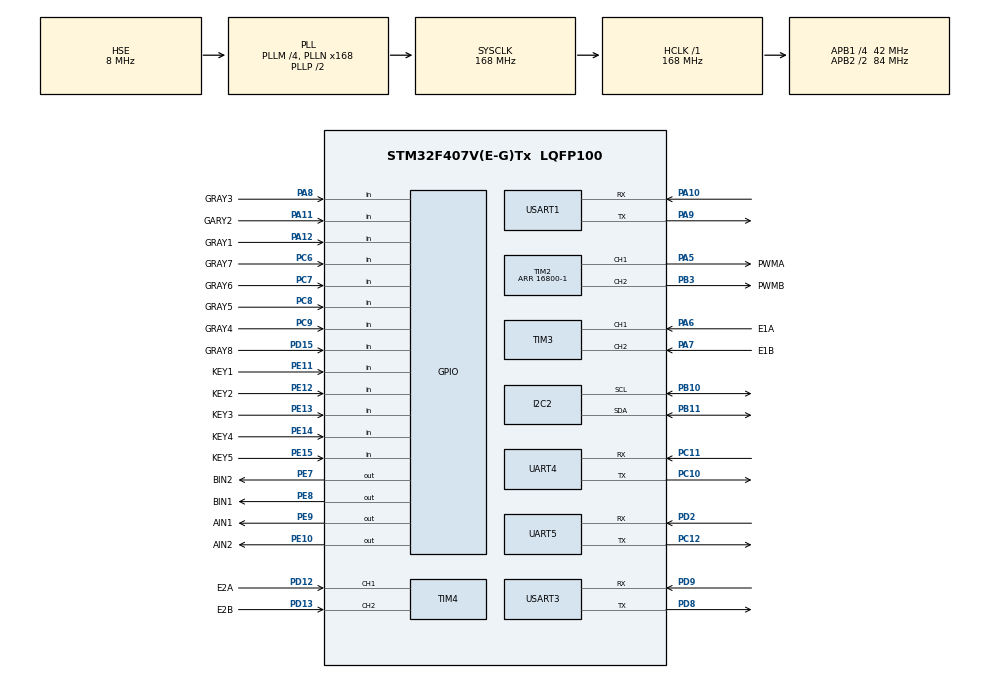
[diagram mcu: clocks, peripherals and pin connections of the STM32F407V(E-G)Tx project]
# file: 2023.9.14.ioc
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Dma.Request0=USART1_RX
Dma.Request1=USART1_TX
Dma.Request2=USART3_RX
Dma.Request3=USART3_TX
Dma.Request4=UART4_RX
Dma.Request5=UART4_TX
Dma.Request6=UART5_RX
Dma.Request7=UART5_TX
Dma.UART4_RX.4.Direction=DMA_PERIPH_TO_MEMORY
Dma.UART4_RX.4.FIFOMode=DMA_FIFOMODE_DISABLE
Dma.UART4_RX.4.Instance=DMA1_Stream2
Dma.UART4_RX.4.MemDataAlignment=DMA_MDATAALIGN_BYTE
Dma.UART4_RX.4.MemInc=DMA_MINC_ENABLE
Dma.UART4_RX.4.Mode=DMA_NORMAL
Dma.UART4_RX.4.PeriphDataAlignment=DMA_PDATAALIGN_BYTE
Dma.UART4_RX.4.PeriphInc=DMA_PINC_DISABLE
Dma.UART4_RX.4.Priority=DMA_PRIORITY_LOW
Dma.UART4_TX.5.Direction=DMA_MEMORY_TO_PERIPH
Dma.UART4_TX.5.FIFOMode=DMA_FIFOMODE_DISABLE
Dma.UART4_TX.5.Instance=DMA1_Stream4
Dma.UART4_TX.5.MemDataAlignment=DMA_MDATAALIGN_BYTE
Dma.UART4_TX.5.MemInc=DMA_MINC_ENABLE
Dma.UART4_TX.5.Mode=DMA_NORMAL
Dma.UART4_TX.5.PeriphDataAlignment=DMA_PDATAALIGN_BYTE
Dma.UART4_TX.5.PeriphInc=DMA_PINC_DISABLE
Dma.UART4_TX.5.Priority=DMA_PRIORITY_LOW
Dma.UART5_RX.6.Direction=DMA_PERIPH_TO_MEMORY
Dma.UART5_RX.6.FIFOMode=DMA_FIFOMODE_DISABLE
Dma.UART5_RX.6.Instance=DMA1_Stream0
Dma.UART5_RX.6.MemDataAlignment=DMA_MDATAALIGN_BYTE
Dma.UART5_RX.6.MemInc=DMA_MINC_ENABLE
Dma.UART5_RX.6.Mode=DMA_NORMAL
Dma.UART5_RX.6.PeriphDataAlignment=DMA_PDATAALIGN_BYTE
Dma.UART5_RX.6.PeriphInc=DMA_PINC_DISABLE
Dma.UART5_RX.6.Priority=DMA_PRIORITY_LOW
Dma.UART5_TX.7.Direction=DMA_MEMORY_TO_PERIPH
Dma.UART5_TX.7.FIFOMode=DMA_FIFOMODE_DISABLE
Dma.UART5_TX.7.Instance=DMA1_Stream7
Dma.UART5_TX.7.MemDataAlignment=DMA_MDATAALIGN_BYTE
Dma.UART5_TX.7.MemInc=DMA_MINC_ENABLE
Dma.UART5_TX.7.Mode=DMA_NORMAL
Dma.UART5_TX.7.PeriphDataAlignment=DMA_PDATAALIGN_BYTE
Dma.UART5_TX.7.PeriphInc=DMA_PINC_DISABLE
Dma.UART5_TX.7.Priority=DMA_PRIORITY_LOW
Dma.USART1_RX.0.Direction=DMA_PERIPH_TO_MEMORY
Dma.USART1_RX.0.FIFOMode=DMA_FIFOMODE_DISABLE
Dma.USART1_RX.0.Instance=DMA2_Stream2
Dma.USART1_RX.0.MemDataAlignment=DMA_MDATAALIGN_BYTE
Dma.USART1_RX.0.MemInc=DMA_MINC_ENABLE
Dma.USART1_RX.0.Mode=DMA_NORMAL
Dma.USART1_RX.0.PeriphDataAlignment=DMA_PDATAALIGN_BYTE
Dma.USART1_RX.0.PeriphInc=DMA_PINC_DISABLE
Dma.USART1_RX.0.Priority=DMA_PRIORITY_LOW
Dma.USART1_TX.1.Direction=DMA_MEMORY_TO_PERIPH
Dma.USART1_TX.1.FIFOMode=DMA_FIFOMODE_DISABLE
Dma.USART1_TX.1.Instance=DMA2_Stream7
Dma.USART1_TX.1.MemDataAlignment=DMA_MDATAALIGN_BYTE
Dma.USART1_TX.1.MemInc=DMA_MINC_ENABLE
Dma.USART1_TX.1.Mode=DMA_NORMAL
Dma.USART1_TX.1.PeriphDataAlignment=DMA_PDATAALIGN_BYTE
Dma.USART1_TX.1.PeriphInc=DMA_PINC_DISABLE
Dma.USART1_TX.1.Priority=DMA_PRIORITY_LOW
Dma.USART3_RX.2.Direction=DMA_PERIPH_TO_MEMORY
Dma.USART3_RX.2.FIFOMode=DMA_FIFOMODE_DISABLE
Dma.USART3_RX.2.Instance=DMA1_Stream1
Dma.USART3_RX.2.MemDataAlignment=DMA_MDATAALIGN_BYTE
Dma.USART3_RX.2.MemInc=DMA_MINC_ENABLE
Dma.USART3_RX.2.Mode=DMA_NORMAL
Dma.USART3_RX.2.PeriphDataAlignment=DMA_PDATAALIGN_BYTE
Dma.USART3_RX.2.PeriphInc=DMA_PINC_DISABLE
Dma.USART3_RX.2.Priority=DMA_PRIORITY_LOW
Dma.USART3_TX.3.Direction=DMA_MEMORY_TO_PERIPH
Dma.USART3_TX.3.FIFOMode=DMA_FIFOMODE_DISABLE
Dma.USART3_TX.3.Instance=DMA1_Stream3
Dma.USART3_TX.3.MemDataAlignment=DMA_MDATAALIGN_BYTE
Dma.USART3_TX.3.MemInc=DMA_MINC_ENABLE
Dma.USART3_TX.3.Mode=DMA_NORMAL
Dma.USART3_TX.3.PeriphDataAlignment=DMA_PDATAALIGN_BYTE
Dma.USART3_TX.3.PeriphInc=DMA_PINC_DISABLE
Dma.USART3_TX.3.Priority=DMA_PRIORITY_LOW
Mcu.Family=STM32F4
Mcu.Name=STM32F407V(E-G)Tx
Mcu.Package=LQFP100
NVIC.DMA1_Stream0_IRQn=true\:0\:0\:false\:false\:true\:false\:true\:true
NVIC.DMA1_Stream1_IRQn=true\:0\:0\:false\:false\:true\:false\:true\:true
NVIC.DMA1_Stream2_IRQn=true\:0\:0\:false\:false\:true\:false\:true\:true
NVIC.DMA1_Stream3_IRQn=true\:0\:0\:false\:false\:true\:false\:true\:true
NVIC.DMA1_Stream4_IRQn=true\:0\:0\:false\:false\:true\:false\:true\:true
NVIC.DMA1_Stream7_IRQn=true\:0\:0\:false\:false\:true\:false\:true\:true
NVIC.DMA2_Stream2_IRQn=true\:0\:0\:false\:false\:true\:false\:true\:true
NVIC.DMA2_Stream7_IRQn=true\:0\:0\:false\:false\:true\:false\:true\:true
NVIC.PriorityGroup=NVIC_PRIORITYGROUP_4
NVIC.TIM6_DAC_IRQn=true\:0\:0\:false\:false\:true\:true\:true\:true
NVIC.UART4_IRQn=true\:0\:0\:false\:false\:true\:true\:true\:true
NVIC.UART5_IRQn=true\:0\:0\:false\:false\:true\:true\:true\:true
NVIC.USART1_IRQn=true\:0\:0\:false\:false\:true\:true\:true\:true
NVIC.USART3_IRQn=true\:0\:0\:false\:false\:true\:true\:true\:true
PA10.Mode=Asynchronous
PA10.Signal=USART1_RX
PA11.GPIO_Label=GARY2
PA11.Signal=GPIO_Input
PA12.GPIO_Label=GRAY1
PA12.Signal=GPIO_Input
PA13.Mode=Serial_Wire
PA13.Signal=SYS_JTMS-SWDIO
PA14.Mode=Serial_Wire
PA14.Signal=SYS_JTCK-SWCLK
PA5.GPIO_Label=PWMA
PA5.Signal=S_TIM2_CH1_ETR
PA6.GPIO_Label=E1A
PA6.Signal=S_TIM3_CH1
PA7.GPIO_Label=E1B
PA7.Signal=S_TIM3_CH2
PA8.GPIO_Label=GRAY3
PA8.Signal=GPIO_Input
PA9.Mode=Asynchronous
PA9.Signal=USART1_TX
PB10.Mode=I2C
PB10.Signal=I2C2_SCL
PB11.Mode=I2C
PB11.Signal=I2C2_SDA
PB3.GPIO_Label=PWMB
PB3.Signal=S_TIM2_CH2
PC10.Mode=Asynchronous
PC10.Signal=UART4_TX
PC11.Mode=Asynchronous
PC11.Signal=UART4_RX
PC12.Mode=Asynchronous
PC12.Signal=UART5_TX
PC6.GPIO_Label=GRAY7
PC6.Signal=GPIO_Input
PC7.GPIO_Label=GRAY6
PC7.Signal=GPIO_Input
PC8.GPIO_Label=GRAY5
PC8.Signal=GPIO_Input
PC9.GPIO_Label=GRAY4
PC9.Signal=GPIO_Input
PD12.GPIO_Label=E2A
PD12.Signal=S_TIM4_CH1
PD13.GPIO_Label=E2B
PD13.Signal=S_TIM4_CH2
PD15.GPIO_Label=GRAY8
PD15.Signal=GPIO_Input
PD2.Mode=Asynchronous
PD2.Signal=UART5_RX
PD8.Mode=Asynchronous
PD8.Signal=USART3_TX
PD9.Mode=Asynchronous
PD9.Signal=USART3_RX
PE10.GPIO_Label=AIN2
PE10.Signal=GPIO_Output
PE11.GPIO_Label=KEY1
PE11.Signal=GPIO_Input
PE12.GPIO_Label=KEY2
PE12.Signal=GPIO_Input
PE13.GPIO_Label=KEY3
PE13.Signal=GPIO_Input
PE14.GPIO_Label=KEY4
PE14.Signal=GPIO_Input
PE15.GPIO_Label=KEY5
PE15.Signal=GPIO_Input
PE7.GPIO_Label=BIN2
PE7.Signal=GPIO_Output
PE8.GPIO_Label=BIN1
PE8.Signal=GPIO_Output
PE9.GPIO_Label=AIN1
PE9.Signal=GPIO_Output
PH0-OSC_IN.Mode=HSE-External-Oscillator
PH0-OSC_IN.Signal=RCC_OSC_IN
PH1-OSC_OUT.Mode=HSE-External-Oscillator
PH1-OSC_OUT.Signal=RCC_OSC_OUT
ProjectManager.HeapSize=0x200
ProjectManager.StackSize=0x400
ProjectManager.TargetToolchain=MDK-ARM V5.32
RCC.48MHZClocksFreq_Value=84000000
RCC.AHBFreq_Value=168000000
RCC.APB1CLKDivider=RCC_HCLK_DIV4
RCC.APB1Freq_Value=42000000
RCC.APB1TimFreq_Value=84000000
RCC.APB2CLKDivider=RCC_HCLK_DIV2
RCC.APB2Freq_Value=84000000
RCC.APB2TimFreq_Value=168000000
RCC.CortexFreq_Value=168000000
RCC.HCLKFreq_Value=168000000
RCC.HSE_VALUE=8000000
RCC.HSI_VALUE=16000000
RCC.LSE_VALUE=32768
RCC.PLLM=4
RCC.PLLN=168
RCC.PLLSourceVirtual=RCC_PLLSOURCE_HSE
RCC.SYSCLKFreq_VALUE=168000000
RCC.SYSCLKSource=RCC_SYSCLKSOURCE_PLLCLK
RCC.VCOOutputFreq_Value=336000000
SH.S_TIM2_CH1_ETR.0=TIM2_CH1,PWM Generation1 CH1
SH.S_TIM2_CH2.0=TIM2_CH2,PWM Generation2 CH2
SH.S_TIM3_CH1.0=TIM3_CH1,Encoder_Interface
SH.S_TIM3_CH2.0=TIM3_CH2,Encoder_Interface
SH.S_TIM4_CH1.0=TIM4_CH1,Encoder_Interface
SH.S_TIM4_CH2.0=TIM4_CH2,Encoder_Interface
TIM2.Channel-PWM\ Generation1\ CH1=TIM_CHANNEL_1
TIM2.Channel-PWM\ Generation2\ CH2=TIM_CHANNEL_2
TIM2.Period=16800-1
TIM3.EncoderMode=TIM_ENCODERMODE_TI12
TIM4.EncoderMode=TIM_ENCODERMODE_TI12
TIM6.Period=100-1
TIM6.Prescaler=16800-1
UART4.VirtualMode=Asynchronous
UART5.VirtualMode=Asynchronous
USART1.VirtualMode=VM_ASYNC
USART3.VirtualMode=VM_ASYNC
VP_TIM6_VS_ClockSourceINT.Mode=Enable_Timer
VP_TIM7_VS_ClockSourceINT.Mode=Enable_Timer
board=custom

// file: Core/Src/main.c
/* USER CODE BEGIN Header */
/**
  ******************************************************************************
  * @file           : main.c
  * @brief          : Main program body
  ******************************************************************************
  * @attention
  *
  * Copyright (c) 2023 STMicroelectronics.
  * All rights reserved.
  *
  * This software is licensed under terms that can be found in the LICENSE file
  * in the root directory of this software component.
  * If no LICENSE file comes with this software, it is provided AS-IS.
  *
  ******************************************************************************
  */
/* USER CODE END Header */
#include "main.h"
#include "dma.h"
#include "i2c.h"
#include "tim.h"
#include "usart.h"
#include "gpio.h"

/* USER CODE BEGIN Includes */
#include "oled.h"
#include "meau.h"
#include "key.h"
/* USER CODE END Includes */

void SystemClock_Config(void);
/* USER CODE BEGIN PFP */
uint8_t num;
uint8_t x;
uint8_t rx[20] = {0};
uint8_t rx3[20] = {0};
uint8_t rx4[20] = {0};
uint8_t rx5[20] = {0};

/* USER CODE END PFP */

int main(void)
{

  /* MCU Configuration--------------------------------------------------------*/

  /* Reset of all peripherals, Initializes the Flash interface and the Systick. */
  HAL_Init();

  /* Configure the system clock */
  SystemClock_Config();

  /* Initialize all configured peripherals */
  MX_GPIO_Init();
  MX_DMA_Init();
  MX_USART1_UART_Init();
  MX_USART3_UART_Init();
  MX_UART4_Init();
  MX_UART5_Init();
  MX_I2C2_Init();
  MX_TIM2_Init();
  MX_TIM3_Init();
  MX_TIM4_Init();
  MX_TIM6_Init();
  MX_TIM7_Init();
  /* USER CODE BEGIN 2 */
	HAL_Delay(1000);
  OLED_Init();
	OLED_ColorTurn(0);
  OLED_DisplayTurn(0);

	HAL_UART_Receive_DMA(&huart1, rx, 20);
	__HAL_UART_ENABLE_IT(&huart1, UART_IT_IDLE);
	HAL_UART_Receive_DMA(&huart3, rx3, 20);
	__HAL_UART_ENABLE_IT(&huart3, UART_IT_IDLE);
	HAL_UART_Receive_DMA(&huart4, rx4, 20);
	__HAL_UART_ENABLE_IT(&huart4, UART_IT_IDLE);
	HAL_UART_Receive_DMA(&huart5, rx5, 20);
	__HAL_UART_ENABLE_IT(&huart5, UART_IT_IDLE);
  /* USER CODE END 2 */

  /* Infinite loop */
  while (1)
  {

  }
}

void SystemClock_Config(void)
{
  RCC_OscInitTypeDef RCC_OscInitStruct = {0};
  RCC_ClkInitTypeDef RCC_ClkInitStruct = {0};

  /** Configure the main internal regulator output voltage
  */
  __HAL_RCC_PWR_CLK_ENABLE();
  __HAL_PWR_VOLTAGESCALING_CONFIG(PWR_REGULATOR_VOLTAGE_SCALE1);

  /** Initializes the RCC Oscillators according to the specified parameters
  * in the RCC_OscInitTypeDef structure.
  */
  RCC_OscInitStruct.OscillatorType = RCC_OSCILLATORTYPE_HSE;
  RCC_OscInitStruct.HSEState = RCC_HSE_ON;
  RCC_OscInitStruct.PLL.PLLState = RCC_PLL_ON;
  RCC_OscInitStruct.PLL.PLLSource = RCC_PLLSOURCE_HSE;
  RCC_OscInitStruct.PLL.PLLM = 4;
  RCC_OscInitStruct.PLL.PLLN = 168;
  RCC_OscInitStruct.PLL.PLLP = RCC_PLLP_DIV2;
  RCC_OscInitStruct.PLL.PLLQ = 4;
  if (HAL_RCC_OscConfig(&RCC_OscInitStruct) != HAL_OK)
  {
    Error_Handler();
  }

  /** Initializes the CPU, AHB and APB buses clocks
  */
  RCC_ClkInitStruct.ClockType = RCC_CLOCKTYPE_HCLK|RCC_CLOCKTYPE_SYSCLK
                              |RCC_CLOCKTYPE_PCLK1|RCC_CLOCKTYPE_PCLK2;
  RCC_ClkInitStruct.SYSCLKSource = RCC_SYSCLKSOURCE_PLLCLK;
  RCC_ClkInitStruct.AHBCLKDivider = RCC_SYSCLK_DIV1;
  RCC_ClkInitStruct.APB1CLKDivider = RCC_HCLK_DIV4;
  RCC_ClkInitStruct.APB2CLKDivider = RCC_HCLK_DIV2;

  if (HAL_RCC_ClockConfig(&RCC_ClkInitStruct, FLASH_LATENCY_5) != HAL_OK)
  {
    Error_Handler();
  }
}

void Error_Handler(void)
{
  __disable_irq();
  while (1)
  {
  }
}
